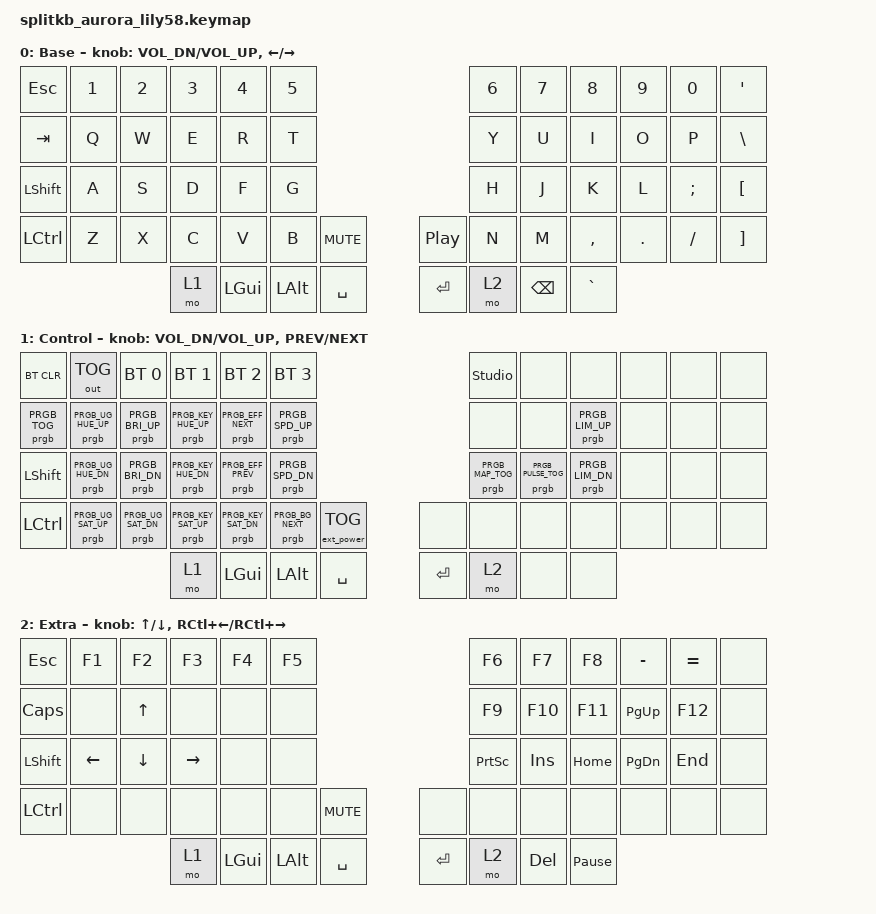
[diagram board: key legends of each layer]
/*
 * Copyright (c) 2022 The ZMK Contributors
 *
 * SPDX-License-Identifier: MIT
 */

#include <behaviors.dtsi>
#include <dt-bindings/zmk/keys.h>
#include <dt-bindings/zmk/bt.h>
#include <dt-bindings/zmk/ext_power.h>
#include <dt-bindings/zmk/outputs.h>
// Per-key RGB lighting behavior (&prgb) from this repo's module (dts/, include/)
#include <behaviors/prgb.dtsi>

// The encoders themselves (pins, enable per half) come from the upstream shield.
// Steps must be 4x triggers-per-rotation for exactly one trigger per detent:
// the shield's steps = 80 with 24 triggers fired an extra step every 5th click.
&left_encoder {
    steps = <96>;
};

&right_encoder {
    steps = <96>;
};

// The Aurora Lily58 chains 34 LEDs per half: 5 underglow, then the 29 per-key LEDs.
// The shield only declares 5, which is why the per-key "backlight" never lit up.
// The per-key RGB module (&prgb) drives them as two zones: underglow (0-4), keys (5-33).
&led_strip {
    chain-length = <34>;
};

// Run the OLED bus at 400 kHz (fast mode, supported by the SSD1306) instead of the
// 100 kHz default, so each redraw holds the CPU/bus for a quarter of the time.
&pro_micro_i2c {
    clock-frequency = <400000>;
};

/ {
    sensors: sensors {
        compatible = "zmk,keymap-sensors";
        sensors = <&left_encoder &right_encoder>;

        left_sensor {
            triggers-per-rotation = <24>;
        };

        right_sensor {
            triggers-per-rotation = <24>;
        };
    };
};


/ {    
    keymap {
        compatible = "zmk,keymap";

        default_layer {
            display-name = "Base";
// ------------------------------------------------------------------------------------------------------------
// |  ESC  |  1  |  2  |  3   |  4   |  5   |                   |  6   |  7    |  8    |  9   |   0   |   '   |
// |  TAB  |  Q  |  W  |  E   |  R   |  T   |                   |  Y   |  U    |  I    |  O   |   P   |   \   |
// | SHIFT |  A  |  S  |  D   |  F   |  G   |  VOL      L/R ARR |  H   |  J    |  K    |  L   |   ;   |   [   |
// |  CTRL |  Z  |  X  |  C   |  V   |  B   |  MUTE  |  | PLAY  |  N   |  M    |  ,    |  .   |   /   |   ]   |
//                     | MO1  | WIN  | ALT  |  SPACE |  | ENTER | MO2  | BSPC  |  ~    |
            bindings = <
&kp ESC   &kp N1 &kp N2 &kp N3 &kp N4   &kp N5                                 &kp N6 &kp N7   &kp N8    &kp N9  &kp N0   &kp APOS
&kp TAB   &kp Q  &kp W  &kp E  &kp R    &kp T                                  &kp Y  &kp U    &kp I     &kp O   &kp P    &kp BSLH
&kp LSHFT &kp A  &kp S  &kp D  &kp F    &kp G                                  &kp H  &kp J    &kp K     &kp L   &kp SEMI &kp LBKT
&kp LCTRL &kp Z  &kp X  &kp C  &kp V    &kp B     &kp C_MUTE        &kp C_PP   &kp N  &kp M    &kp COMMA &kp DOT &kp FSLH &kp RBKT
                        &mo 1  &kp LGUI &kp LALT  &kp SPACE         &kp RET    &mo 2  &kp BSPC &kp GRAVE
            >;

            sensor-bindings = <&inc_dec_kp C_VOL_DN C_VOL_UP &inc_dec_kp LEFT RIGHT>;
        };

        control_layer {
            display-name = "Control";
// ------------------------------------------------------------------------------------------------------------
// RGB: UG = underglow zone (also the reactive accent colour), KEY = per-key zone.
// BGLVL = reactive/ripple background (dim accent tint): 0 -> 5 -> 10 -> 15 -> 25% -> 0.
// RGBMAP = layer key map on/off (keys show their binding type on this layer, BT0-3 their
// profile state, OUTTG the endpoint; underglow tinted; on Extra the unbound keys keep
// the base layer's lighting). PULSE = underglow flashes on key presses on/off.
// MAX+/MAX- = maximum brightness (what BRT 100% means), in 10% steps between 10% and
// 100% of the LEDs' full output (starts at 50%, saved).
// Key map colours on this layer: brightness/BGLVL yellow, saturation purple, hue keys
// cycle the rainbow, effect green, speed cyan, toggles pink, BT/out blue (or status),
// system red, layer keys orange, plain keys white. The unbound keys flash the new colour
// when a hue, saturation, brightness or background level changes.
// | BTCLR |OUTTG| BT0 |  BT1 |  BT2 |  BT3 |                   |STUDIO|       |       |      |       |       |
// | RGBTGL|UGHU+| BRT+|KEYHU+| EFF+ | SPD+ |                   |      |       | MAX+  |      |       |       |
// | SHIFT |UGHU-| BRT-|KEYHU-| EFF- | SPD- |                   |RGBMAP| PULSE | MAX-  |      |       |       |
// | LCTRL |UGSA+|UGSA-|KEYSA+|KEYSA-|BGLVL | KBPWR  |  |       |      |       |       |      |       |       |
//                     |  MO1 | WIN  | ALT  | SPACE  |  | ENTER | MO2  |       |       |
            bindings = <
&bt BT_CLR     &out OUT_TOG         &bt BT_SEL 0         &bt BT_SEL 1          &bt BT_SEL 2          &bt BT_SEL 3                         &studio_unlock &none    &none   &none &none &none
&prgb PRGB_TOG &prgb PRGB_UG_HUE_UP &prgb PRGB_BRI_UP    &prgb PRGB_KEY_HUE_UP &prgb PRGB_EFF_NEXT   &prgb PRGB_SPD_UP                    &none     &none    &prgb PRGB_LIM_UP &none &none &none
&kp LSHFT      &prgb PRGB_UG_HUE_DN &prgb PRGB_BRI_DN    &prgb PRGB_KEY_HUE_DN &prgb PRGB_EFF_PREV   &prgb PRGB_SPD_DN                    &prgb PRGB_MAP_TOG &prgb PRGB_PULSE_TOG &prgb PRGB_LIM_DN &none &none &none
&kp LCTRL      &prgb PRGB_UG_SAT_UP &prgb PRGB_UG_SAT_DN &prgb PRGB_KEY_SAT_UP &prgb PRGB_KEY_SAT_DN &prgb PRGB_BG_NEXT &ext_power EP_TOG &none &none     &none    &none   &none &none &none
                                                         &mo 1                 &kp LGUI              &kp LALT           &kp SPACE &kp RET &mo 2     &none    &none
            >;

            sensor-bindings = <&inc_dec_kp C_VOL_DN C_VOL_UP &inc_dec_kp C_PREV C_NEXT>;
        };

        additional_layer {
            display-name = "Extra";
// ------------------------------------------------------------------------------------------------------------
// |  ESC  |  F1 | F2  | F3   | F4   |  F5  |                   | F6   |  F7   |  F8   |  -   |   +   |       |
// |  CAPS |     | UP  |      |      |      |                   | F9   |  F10  |  F11  | PGUP |  F12  |       |
// | SHIFT |LEFT |DOWN |RIGHT |      |      | UP/DOWN    CTRLAR |      |INSERT | HOME  | PGDN |  END  |       |
// | LCTRL |     |     |      |      |      |        |  | MUTE  |      |       |       |      |       |       |
//                     |  MO1 | WIN  | ALT  | SPACE  |  | ENTER | MO2  |  DEL  | PAUSE |
            bindings = <
&kp ESC   &kp F1   &kp F2   &kp F3    &kp F4   &kp F5                              &kp F6     &kp F7   &kp F8          &kp MINUS  &kp EQUAL &none
&kp CAPS  &none    &kp UP   &none     &none    &none                               &kp F9     &kp F10  &kp F11         &kp PG_UP  &kp F12   &none
&kp LSHFT &kp LEFT &kp DOWN &kp RIGHT &none    &none                               &kp PSCRN  &kp INS  &kp HOME        &kp PG_DN  &kp END   &none
&kp LCTRL &none    &none    &none     &none    &none     &kp C_MUTE &none          &none      &none    &none           &none      &none     &none
                            &mo 1     &kp LGUI &kp LALT  &kp SPACE  &kp RET        &mo 2      &kp DEL  &kp PAUSE_BREAK
            >;
        
            sensor-bindings = <&inc_dec_kp UP DOWN &inc_dec_kp RC(LEFT) RC(RIGHT)>;
        };
    };
};
